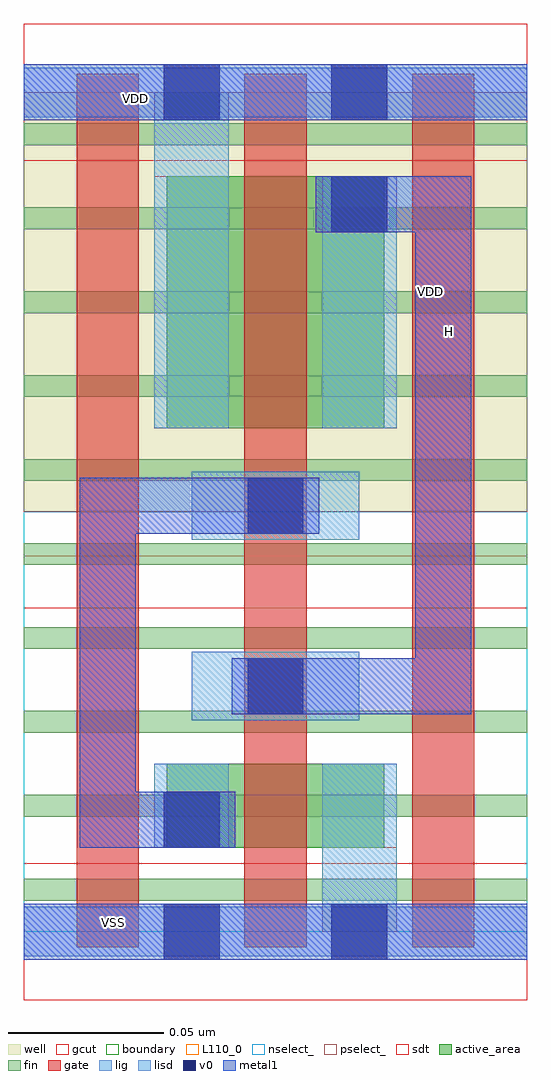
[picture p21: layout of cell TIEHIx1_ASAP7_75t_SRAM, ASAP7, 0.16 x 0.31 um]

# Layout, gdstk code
import gdstk
lib = gdstk.Library(unit=1e-6, precision=1e-09)
def R(c, l, rs):  # rectangles x0, y0, x1, y1
    for r in rs: c.add(gdstk.rectangle(r[:2], r[2:], *l))
def A(c, l, x, y, w, h, nx, ny, dx, dy):  # array of equal rectangles
    R(c, l, [(x+i*dx, y+j*dy, x+i*dx+w, y+j*dy+h) for i in range(nx) for j in range(ny)])
well = (1, 0)
fin = (2, 0)
gate = (7, 0)
gcut = (10, 0)
active_area = (11, 0)
nselect_ = (12, 0)
pselect_ = (13, 0)
lig = (16, 0)
lisd = (17, 0)
v0 = (18, 0)
metal1 = (19, 0)
sdt = (88, 0)
boundary = (100, 0)
L110_0 = (110, 0)

tiehix1_asap7_75t_sram = lib.new_cell('TIEHIx1_ASAP7_75t_SRAM')
R(tiehix1_asap7_75t_sram, well, [(0,0.135,0.162,0.27)])
A(tiehix1_asap7_75t_sram, fin, 0, 0.01, 0.162, 0.007, 1, 10, 0, 0.027)
A(tiehix1_asap7_75t_sram, gate, 0.017, -0.005, 0.02, 0.281, 3, 1, 0.054, 0)
R(tiehix1_asap7_75t_sram, gcut, [(0,-0.022,0.162,0.022), (0,0.104,0.162,0.121), (0,0.248,0.162,0.292)])
R(tiehix1_asap7_75t_sram, active_area, [(0.046,0.027,0.116,0.054), (0.046,0.162,0.116,0.243)])
R(tiehix1_asap7_75t_sram, nselect_, [(0,0,0.162,0.135)])
R(tiehix1_asap7_75t_sram, pselect_, [(0,0.135,0.162,0.27)])
R(tiehix1_asap7_75t_sram, lig, [(0,-0.008,0.162,0.008), (0.054,0.068,0.108,0.09), (0.054,0.126,0.108,0.148), (0,0.262,0.162,0.278)])
R(tiehix1_asap7_75t_sram, lisd, [(0.096,0,0.12,0.054), (0.042,0.027,0.066,0.054), (0.042,0.162,0.066,0.27), (0.096,0.162,0.12,0.243)])
R(tiehix1_asap7_75t_sram, v0, [(0.045,-0.009,0.063,0.009), (0.099,-0.009,0.117,0.009), (0.045,0.027,0.063,0.045), (0.072,0.07,0.09,0.088), (0.072,0.128,0.09,0.146), (0.099,0.225,0.117,0.243), (0.045,0.261,0.063,0.279), (0.099,0.261,0.117,0.279)])
R(tiehix1_asap7_75t_sram, metal1, [(0,-0.009,0.162,0.009), (0.018,0.027,0.068,0.045), (0.018,0.027,0.036,0.146), (0.067,0.07,0.144,0.088), (0.126,0.07,0.144,0.243), (0.018,0.128,0.095,0.146), (0.094,0.225,0.144,0.243), (0,0.261,0.162,0.279)])
R(tiehix1_asap7_75t_sram, sdt, [(0.042,0.027,0.066,0.054), (0.096,0.027,0.12,0.054), (0.042,0.162,0.066,0.243), (0.096,0.162,0.12,0.243)])
R(tiehix1_asap7_75t_sram, boundary, [(0,0,0.162,0.27)])
R(tiehix1_asap7_75t_sram, L110_0, [(0,0,0.162,0.27)])
tiehix1_asap7_75t_sram.add(gdstk.Label('VDD', (0.131,0.206), layer=1, texttype=251))
tiehix1_asap7_75t_sram.add(gdstk.Label('VDD', (0.036,0.268), layer=19, texttype=251))
tiehix1_asap7_75t_sram.add(gdstk.Label('VSS', (0.029,0.003), layer=19, texttype=251))
tiehix1_asap7_75t_sram.add(gdstk.Label('H', (0.137,0.193), layer=19, texttype=251))
tiehix1_asap7_75t_sram.add(gdstk.Label('VSS', (0.2,0.205), layer=3, texttype=251))

lib.write_gds('TIEHIx1_ASAP7_75t_SRAM.gds')
